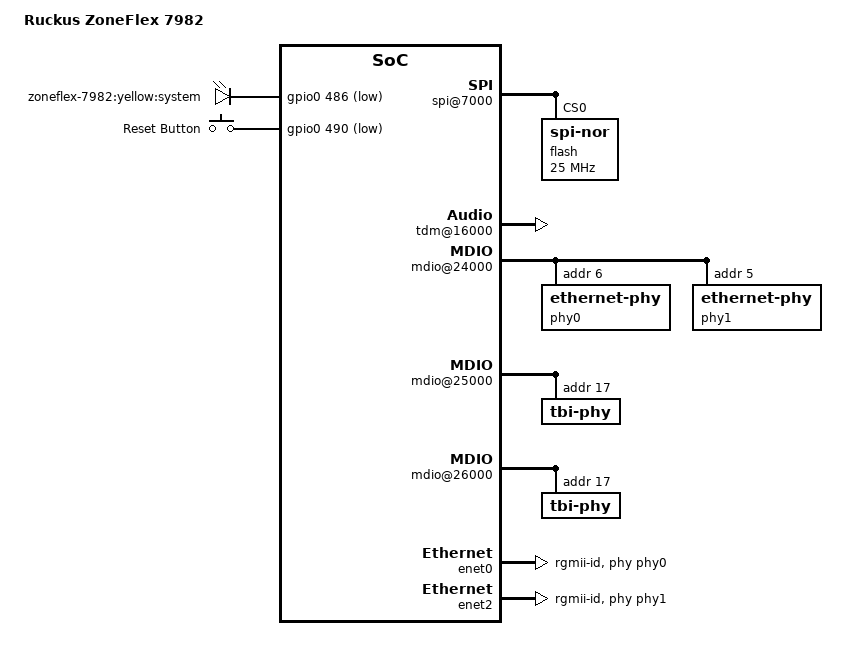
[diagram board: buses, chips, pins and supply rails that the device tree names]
// SPDX-License-Identifier: GPL-2.0-or-later OR MIT
/dts-v1/;

/include/ "fsl/p1020si-pre.dtsi"

/ {
	model = "Ruckus ZoneFlex 7982";
	compatible = "ruckus,zoneflex-7982";
	#address-cells = <0x2>;
	#size-cells = <0x2>;

	chosen {
		linux,stdout-path = "/soc@ffe00000/serial@4500";
		bootargs = "console=ttyS0,115200";
	};

	aliases {
		led-boot = &system_yellow;
		led-failsafe = &system_yellow;
		led-running = &system_yellow;
		led-upgrade = &system_yellow;
	};

	memory {
		device_type = "memory";
	};

	soc: soc@ffe00000 {
		ranges = <0x0 0x0 0xffe00000 0x100000>;

		spi@7000 {
			flash@0 {
				/* test with 40 mhz */
				compatible = "jedec,spi-nor";
				reg = <0>;
				spi-max-frequency = <25000000>;

				partitions {
					compatible = "ecoscentric,redboot-fis-partitions";
				};
			};
		};

		gpio0: gpio-controller@fc00 {
		};

		tdm@16000 {
			compatible = "fsl,starlite-tdm";
			reg = <0x16000 0x200 0x2c000 0x2000>;
			clock-frequency = <0x0>;
			interrupts = <0x3f 0x8 0x3e 0x8>;
			interrupt-parent = <0x2>;
		};

		l2-cache-controller@20000 {
			cache-level = <0x2>;
			cache-sets = <0x400>;
			cache-block-size = <0x20>;
			cache-unified;
			compatible = [66 73 6c 2c 70 31 30 31 31 2d 6c 32 2d 63 61 63 68 65 2d 63 6f 6e 74 72 6f 6c 6c 65 72 00 63 61 63 68 65 00 07 e7];
			reg = <0x20000 0x1000>;
			cache-line-size = <0x20>;
			cache-size = <0x40000>;
			interrupt-parent = <0x2>;
			interrupts = <0x10 0x2>;
			linux,phandle = <0x1>;
		};

		usb@22000 {
			status = "disabled";
		};

		usb@23000 {
			status = "disabled";
		};

		mdio@24000 {
			phy0: ethernet-phy@6 {
				interrupts = <3 1 0 0>;
				reg = <0x6>;
			};

			phy1: ethernet-phy@5 {
				/* todo check interupts. oem use cells: */
				interrupts = <1 1 0 0>;
				reg = <0x5>;
			};
		};

		mdio@25000 {
			#address-cells = <0x1>;
			#size-cells = <0x0>;
			compatible = "fsl,etsec2-tbi";
			reg = <0x25000 0x1000 0xb1030 0x4>;

			tbi-phy@11 {
				reg = <0x11>;
				device_type = "tbi-phy";
			};
		};

		mdio@26000 {
			#address-cells = <0x1>;
			#size-cells = <0x0>;
			compatible = "fsl,etsec2-tbi";
			reg = <0x26000 0x1000 0xb1030 0x4>;

			tbi-phy@11 {
				reg = <0x11>;
				device_type = "tbi-phy";
			};
		};

		ptimer@b0e00 {
			timer-frequency = <0x9ef21a9>;
			compatible = "fsl,gianfar-ptp-timer";
			reg = <0xb0e00 0xb0>;
			interrupts = <0x44 0x2 0x45 0x2 0x46 0x2>;
			interrupt-parent = <0x2>;
			tmr-prsc = <0x2>;
			cksel = <0x1>;
			linux,phandle = <0x4>;
		};

		message@42400 {
			compatible = "fsl,p1020-msg", "fsl,mpic-msg";
			reg = <0x42400 0x200>;
			interrupts = <0xb4 0x2 0xb5 0x2 0xb6 0x2 0xb7 0x2>;
			interrupt-parent = <0x2>;
		};

		enet0: ethernet@b0000 {
			status = "okay";
			phy-handle = <&phy0>;
			phy-connection-type = "rgmii-id";
		};

		enet1: ethernet@b1000 {
			status = "disabled";
		};

		enet2: ethernet@b2000 {
			status = "okay";
			phy-handle = <&phy1>;
			phy-connection-type = "rgmii-id";
		};
	};

	leds {
		compatible = "gpio-leds";

		system_yellow: system {
			label = "zoneflex-7982:yellow:system";
			gpios = <&gpio0 486 1>;
		};
/*
		system_red {
			label = "zoneflex-7982:red:system";
			gpios = <&gpio0 489 1>;
		};
*/
	};

	buttons {
		compatible = "gpio-keys";

		reset {
			label = "Reset Button";
			linux,code = <0x198>;
			gpios = <&gpio0 490 1>;
		};
	};

	pci0: pcie@ffe09000 {
		reg = <0x0 0xffe09000 0x0 0x1000>;
		ranges = <0x2000000 0x0 0xa0000000 0x0 0xa0000000 0x0 0x20000000
			0x1000000 0x0 0x00000000 0x0 0xffc30000 0x0 0x10000>;
		pcie@0 {
			ranges = <0x2000000 0x0 0xa0000000
				  0x2000000 0x0 0xa0000000
				  0x0 0x20000000

				  0x1000000 0x0 0x0
				  0x1000000 0x0 0x0
				  0x0 0x100000>;
		};
	};

	pci1: pcie@ffe0a000 {
		reg = <0x0 0xffe0a000 0x0 0x1000>;
		ranges = <0x2000000 0x0 0xc0000000 0x0 0xc0000000 0x0 0x20000000
		      0x1000000 0x0 0x00000000 0x0 0xffc20000 0x0 0x10000>;
		pcie@0 {
			ranges = <0x2000000 0x0 0xc0000000
			      0x2000000 0x0 0xc0000000
				  0x0 0x20000000

				  0x1000000 0x0 0x0
				  0x1000000 0x0 0x0
				  0x0 0x100000>;
		};
	};

	board_lbc: lbc: localbus@ffe05000 {
		status = "disabled";
	};

};

/include/ "fsl/p1020si-post.dtsi"

